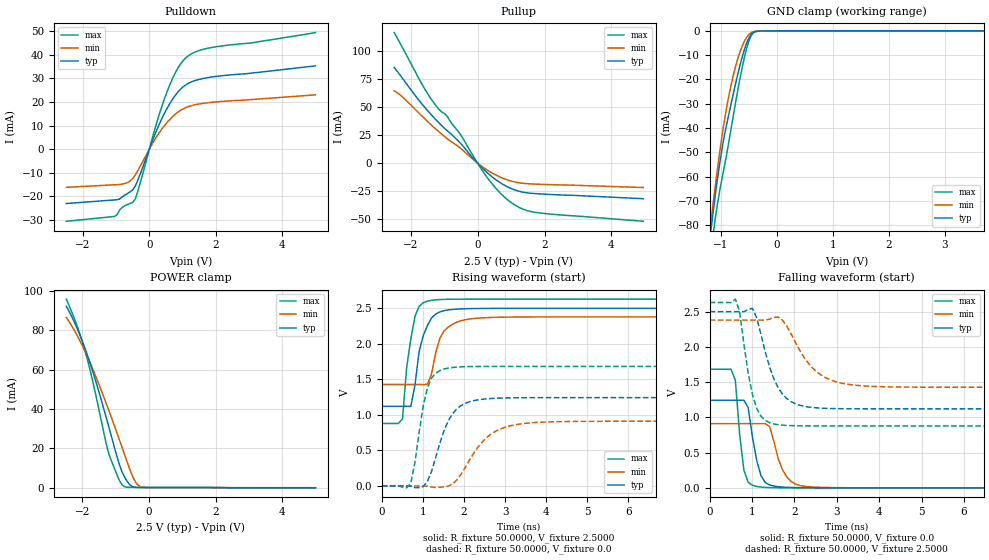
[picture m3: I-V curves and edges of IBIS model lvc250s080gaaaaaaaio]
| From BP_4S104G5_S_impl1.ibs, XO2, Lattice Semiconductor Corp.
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[Model]   lvc250s080gaaaaaaaio
Model_type   I/O
Polarity   Non-Inverting
Enable   Active-Low
Vinl =   0.7000V
Vinh =   1.7000V
Vmeas =   1.2500V
Cref =   0.0F
Rref =   1.0000M
Vref =   0.0V
C_comp   4.2000pF   3.8000pF   7.5000pF
[Temperature Range]   25.0000   0.1250k   -40.0000
[Voltage Range]   2.5000V   2.3800V   2.6300V
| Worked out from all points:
|   slope of the pulldown table from 0 to 0.375 V, typ, clamps not added: 29 ohm
|   slope of the pullup table from 0 to 0.375 V, typ, clamps not added: 35 ohm
|   GND clamp passes 1 mA (typ) near -0.44 V on its own axis
|   POWER clamp passes 1 mA (typ) near -0.53 V on its own axis
|   rising waveform, R_fixture 50.0000, V_fixture 2.5000: 20-80 % time 286ps typ, 305ps min, 229ps max; typ from 1.12 V to 2.5 V
|   rising waveform, R_fixture 50.0000, V_fixture 0.0: 20-80 % time 465ps typ, 709ps min, 287ps max; typ from 0 V to 1.24 V
|   falling waveform, R_fixture 50.0000, V_fixture 0.0: 20-80 % time 232ps typ, 311ps min, 161ps max; typ from 1.24 V to 0 V
|   falling waveform, R_fixture 50.0000, V_fixture 2.5000: 20-80 % time 453ps typ, 672ps min, 302ps max; typ from 2.5 V to 1.12 V
[Pulldown]
|Voltage   I(typ)   I(min)   I(max)
-2.5V     -23.05mA   -16.17mA   -30.58mA
-1.06V    -21.52mA   -15.1mA    -28.54mA
-820mV    -20.26mA   -14.8mA    -24.69mA
-500mV    -17.22mA   -12.44mA   -22.59mA
-420mV    -15.57mA   -10.87mA   -21.01mA
-340mV    -12.93mA   -8.894mA   -17.57mA
220mV     8.024mA    5.326mA    11.17mA
540mV     17.49mA    11.47mA    24.62mA
860mV     24.24mA    15.73mA    34.41mA
1.18V     27.98mA    18.1mA     39.69mA
1.9V      30.67mA    19.92mA    43.2mA
5V        35.37mA    23.08mA    49.47mA
[Pullup]
|Voltage   I(typ)   I(min)   I(max)
-2.5V     85mA       64.32mA    116.1mA
-1.72V    54.47mA    43.36mA    72.98mA
-1.4V     43.35mA    34.2mA     57.24mA
-1.16V    35.8mA     27.84mA    47.91mA
-920mV    29.04mA    21.97mA    41.96mA
-520mV    17.85mA    13.44mA    25.64mA
280mV     -8.363mA   -6.047mA   -12.6mA
680mV     -17.5mA    -12.52mA   -26.75mA
1V        -22.55mA   -15.93mA   -34.99mA
1.32V     -25.6mA    -17.83mA   -40.48mA
1.72V     -27.09mA   -18.63mA   -43.73mA
4.96V     -31.64mA   -21.68mA   -51.72mA
[GND_clamp]
|Voltage   I(typ)   I(min)   I(max)
-2.5V     -564.7mA   -543.1mA   -585.2mA
-1.18V    -82.37mA   -79.05mA   -91.19mA
-1.14V    -74.91mA   -71.4mA    -84.01mA
-1.1V     -67.72mA   -63.96mA   -77.3mA
-980mV    -48.69mA   -43.39mA   -60.85mA
-820mV    -30.38mA   -22.68mA   -40.71mA
-620mV    -10.92mA   -6.374mA   -15.3mA
-540mV    -5.123mA   -2.7mA     -7.317mA
-460mV    -1.524mA   -767.4uA   -2.097mA
-380mV    -292.5uA   -172.6uA   -366.3uA
20mV      0A         0A         0A
5V        0A         0A         0A
[POWER_clamp]
|Voltage   I(typ)   I(min)   I(max)
-2.48V    92.22mA    86.5mA     95.83mA
-2.16V    81.19mA    77.59mA    82.43mA
-1.84V    67mA       66.38mA    64.75mA
-1.52V    49.86mA    53.4mA     41.33mA
-1.28V    35.63mA    42.81mA    22.28mA
-1.2V     30.7mA     39.17mA    17mA
-960mV    15.93mA    27.93mA    6.582mA
-800mV    7.851mA    20.23mA    1.424mA
-560mV    1.299mA    8.796mA    199.2uA
-400mV    169.6uA    2.771mA    193.9uA
-160mV    101.6uA    144.1uA    192.3uA
5V        -4.578uA   -1.793uA   -63.13uA
[Ramp]
| variable   typ   min   max
dV/dt_r  0.7610/0.4599n   0.5462/0.7020n   1.0094/0.2844n
dV/dt_f  0.8277/0.4481n   0.5716/0.6654n   1.0508/0.2990n
R_load = 50.0000
[Rising Waveform]
R_fixture=   50.0000
V_fixture=   2.5000
V_fixture_min=   2.3800
V_fixture_max=   2.6300
|time   V(typ)   V(min)   V(max)
0s        1.121V     1.427V     878.6mV
505.1ps   1.121V     1.427V     943.1mV
606.1ps   1.121V     1.427V     1.667V
707.1ps   1.119V     1.427V     2.071V
808.1ps   1.418V     1.427V     2.386V
909.1ps   1.892V     1.428V     2.53V
1.111ns   2.259V     1.432V     2.601V
1.515ns   2.468V     2.181V     2.626V
2.02ns    2.495V     2.339V     2.63V
10ns      2.5V       2.38V      2.63V
[Rising Waveform]
R_fixture=   50.0000
V_fixture=   0.0
V_fixture_min=   0.0
V_fixture_max=   0.0
|time   V(typ)   V(min)   V(max)
0s        666.9nV    899.8nV    549.6nV
707.1ps   -4.283mV   7.467uV    38.42mV
1.01ns    -9.285mV   -453.2uV   1.131V
1.111ns   62.83mV    -4.528mV   1.383V
1.515ns   778.6mV    -12.88mV   1.646V
1.717ns   1.012V     24.61mV    1.667V
2.02ns    1.16V      249.2mV    1.678V
2.525ns   1.224V     666.6mV    1.682V
3.232ns   1.24V      859.1mV    1.682V
10ns      1.243V     910.3mV    1.682V
[Falling Waveform]
R_fixture=   50.0000
V_fixture=   0.0
V_fixture_min=   0.0
V_fixture_max=   0.0
|time   V(typ)   V(min)   V(max)
0s        1.243V     910.3mV    1.682V
505.1ps   1.243V     910.3mV    1.682V
606.1ps   1.243V     910.3mV    1.524V
808.1ps   1.243V     910.4mV    247.8mV
909.1ps   1.137V     910.3mV    78.69mV
1.01ns    717.9mV    910.3mV    36.15mV
1.313ns   75.67mV    910.8mV    6.34mV
1.818ns   7.627mV    156mV      434.4uV
2.222ns   1.73mV     23.34mV    116uV
10ns      5.917uV    -6.372uV   -20.54uV
[Falling Waveform]
R_fixture=   50.0000
V_fixture=   2.5000
V_fixture_min=   2.3800
V_fixture_max=   2.6300
|time   V(typ)   V(min)   V(max)
0s        2.5V       2.38V      2.63V
606.1ps   2.5V       2.38V      2.678V
707.1ps   2.501V     2.38V      2.497V
1.01ns    2.546V     2.38V      1.319V
1.212ns   2.172V     2.381V     1.015V
1.515ns   1.545V     2.42V      905.6mV
2.02ns    1.194V     2.067V     881.4mV
2.525ns   1.135V     1.646V     879mV
3.131ns   1.123V     1.483V     878.7mV
10ns      1.121V     1.427V     878.6mV
